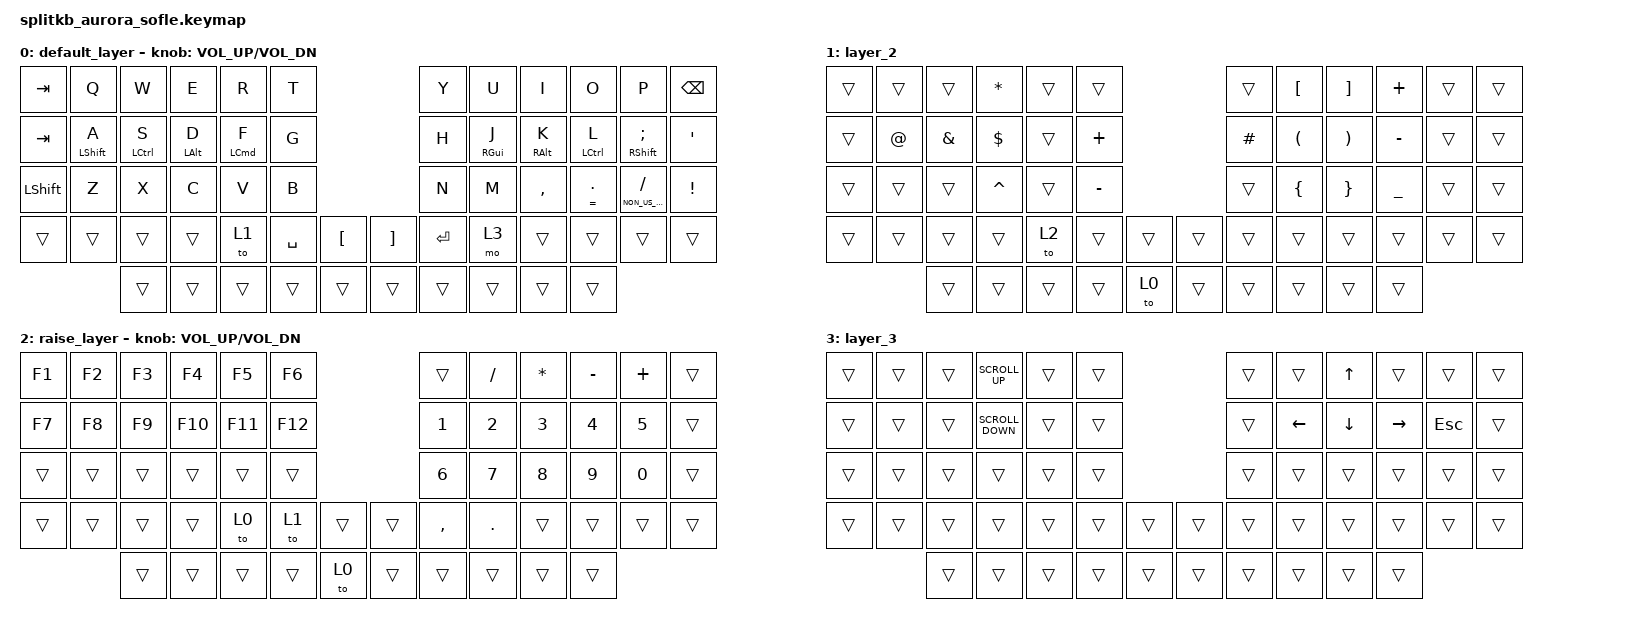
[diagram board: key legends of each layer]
/*
 * Copyright (c) 2023 The ZMK Contributors
 *
 * SPDX-License-Identifier: MIT
 */

#include <behaviors.dtsi>
#include <dt-bindings/zmk/keys.h>

// Uncomment this block if using RGB

&led_strip { chain-length = <6>; };

/ {
    behaviors {
        hm: homerow_mods {
            compatible = "zmk,behavior-hold-tap";
            label = "HOMEROW_MODS";
            #binding-cells = <2>;
            tapping-term-ms = <200>;
            quick_tap_ms = <0>;
            flavor = "tap-preferred";
            bindings = <&kp>, <&kp>;
        };
    };

    keymap {
        compatible = "zmk,keymap";

        default_layer {
            // ------------------------------------------------------------------------------------------------------------
            // |   `   |  1  |  2  |  3   |  4   |  5   |                   |  6   |  7    |  8    |  9   |   0   |  BKSP |
            // |  TAB  |  Q  |  W  |  E   |  R   |  T   |                   |  Y   |  U    |  I    |  O   |   P   |   \   |
            // | LCTRL |  A  |  S  |  D   |  F   |  G   |                   |  H   |  J    |  K    |  L   |   ;   |  ENT  |
            // | SHIFT |  Z  |  X  |  C   |  V   |  B   |   "["  |  |  "]"  |  N   |  M    |  ,    |  .   |   /   | APOS  |
            //               |CTRL | ALT  | GUI  | SPACE|  LOWER |  | RCTRL | LARW | DARW  | UARW  | RARW |

            bindings = <
&kp TAB         &kp Q             &kp W        &kp E           &kp R       &kp T                            &kp Y      &kp U       &kp I       &kp O             &kp P                       &kp BSPC
&kp TAB         &hm LEFT_SHIFT A  &hm LCTRL S  &hm LEFT_ALT D  &hm LCMD F  &kp G                            &kp H      &hm RGUI J  &hm RALT K  &hm LCTRL L       &hm RSHIFT SEMICOLON        &kp SQT
&kp LEFT_SHIFT  &kp Z             &kp X        &kp C           &kp V       &kp B                            &kp N      &kp M       &kp COMMA   &hm EQUAL PERIOD  &hm NON_US_BACKSLASH SLASH  &kp EXCLAMATION
&trans          &trans            &trans       &trans          &to 1       &kp SPACE  &kp LBKT    &kp RBKT  &kp ENTER  &mo 3       &trans      &trans            &trans                      &trans
                                  &trans       &trans          &trans      &trans     &trans      &trans    &trans     &trans      &trans      &trans
            >;

            sensor-bindings = <&inc_dec_kp C_VOL_UP C_VOL_DN>;
        };

        layer_2 {
            bindings = <
&trans  &trans       &trans         &kp ASTERISK  &trans  &trans                       &trans    &kp LEFT_BRACKET      &kp RIGHT_BRACKET      &kp PLUS        &trans  &trans
&trans  &kp AT_SIGN  &kp AMPERSAND  &kp DOLLAR    &trans  &kp PLUS                     &kp HASH  &kp LEFT_PARENTHESIS  &kp RIGHT_PARENTHESIS  &kp MINUS       &trans  &trans
&trans  &trans       &trans         &kp CARET     &trans  &kp MINUS                    &trans    &kp LEFT_BRACE        &kp RIGHT_BRACE        &kp UNDERSCORE  &trans  &trans
&trans  &trans       &trans         &trans        &to 2   &trans     &trans    &trans  &trans    &trans                &trans                 &trans          &trans  &trans
                     &trans         &trans        &trans  &trans     &to 0     &trans  &trans    &trans                &trans                 &trans
            >;
        };

        raise_layer {
            // ------------------------------------------------------------------------------------------------------------
            // |  ESC  |     |     |      |      |      |                   |      |       |       |      |       |       |
            // |       |     |     |      |      |      |                   |      |       |       |      |       |       |
            // |       |     |     |      |      |      |                   |VOL_UP|       |       |      |       |       |
            // |       |     |     |      |      |      |                   |      |       |       |      |       |       |
            //               |     |      |      |      |        |  |       |      |       |       |      |

            bindings = <
&kp F1  &kp F2  &kp F3  &kp F4   &kp F5   &kp F6                     &trans        &kp SLASH     &kp ASTERISK  &kp MINUS     &kp PLUS  &trans
&kp F7  &kp F8  &kp F9  &kp F10  &kp F11  &kp F12                    &kp NUMBER_1  &kp NUMBER_2  &kp NUMBER_3  &kp NUMBER_4  &kp N5    &trans
&trans  &trans  &trans  &trans   &trans   &trans                     &kp NUMBER_6  &kp N7        &kp N8        &kp N9        &kp N0    &trans
&trans  &trans  &trans  &trans   &to 0    &to 1    &trans    &trans  &kp COMMA     &kp PERIOD    &trans        &trans        &trans    &trans
                &trans  &trans   &trans   &trans   &to 0     &trans  &trans        &trans        &trans        &trans
            >;

            sensor-bindings = <&inc_dec_kp C_VOL_UP C_VOL_DN>;
        };

        layer_3 {
            bindings = <
&trans  &trans  &trans  &kp K_SCROLL_UP    &trans  &trans                    &trans  &trans          &kp UP_ARROW    &trans           &trans      &trans
&trans  &trans  &trans  &kp K_SCROLL_DOWN  &trans  &trans                    &trans  &kp LEFT_ARROW  &kp DOWN_ARROW  &kp RIGHT_ARROW  &kp ESCAPE  &trans
&trans  &trans  &trans  &trans             &trans  &trans                    &trans  &trans          &trans          &trans           &trans      &trans
&trans  &trans  &trans  &trans             &trans  &trans  &trans    &trans  &trans  &trans          &trans          &trans           &trans      &trans
                &trans  &trans             &trans  &trans  &trans    &trans  &trans  &trans          &trans          &trans
            >;
        };
    };
};
